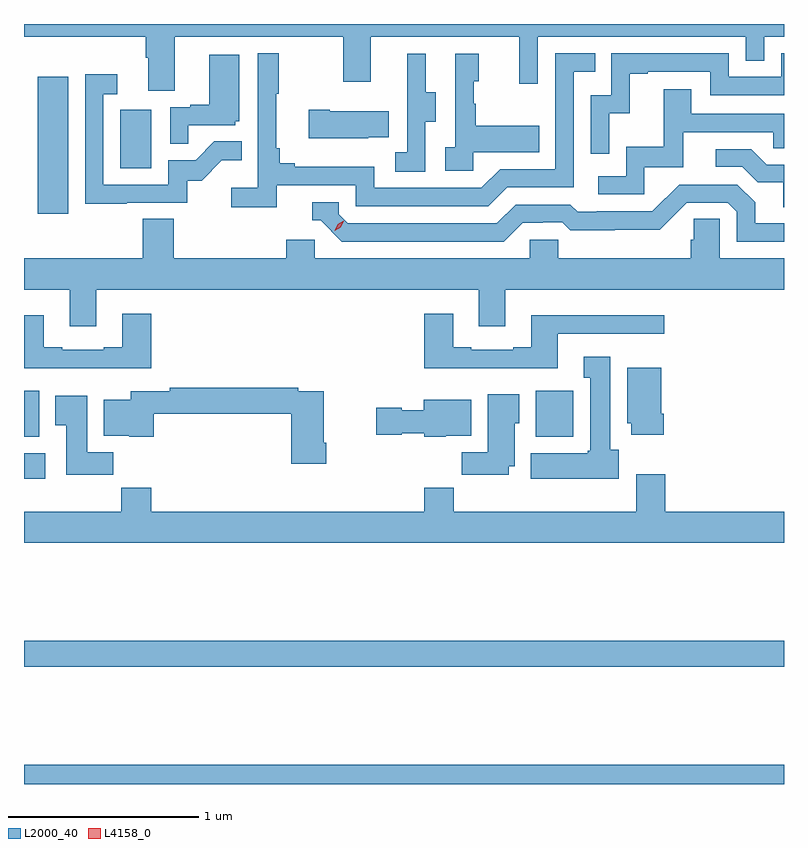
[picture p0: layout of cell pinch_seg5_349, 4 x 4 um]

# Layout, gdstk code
import gdstk
lib = gdstk.Library(unit=1e-6, precision=1e-09)
def R(c, l, rs):  # rectangles x0, y0, x1, y1
    for r in rs: c.add(gdstk.rectangle(r[:2], r[2:], *l))
def P(c, l, *ps):  # polygons
    for p in ps: c.add(gdstk.Polygon(p, *l))
L2000_40 = (2000, 40)
L4158_0 = (4158, 0)

pinch_seg5_349 = lib.new_cell('pinch_seg5_349')
R(pinch_seg5_349, L2000_40, [(969.341,874.138,973.341,874.24), (969.341,874.756,973.341,874.892), (969.341,875.744,969.454,875.878), (969.341,875.966,969.421,876.208), (972.035,875.966,972.232,876.208), (969.413,877.14,969.574,877.861), (969.848,877.38,970.012,877.687)])
P(pinch_seg5_349, L2000_40, [(970.135,878.072),(971.02,878.072),(971.02,877.833),(971.167,877.833),(971.167,878.072),(971.948,878.072),(971.948,877.824),(972.045,877.824),(972.045,878.072),(973.14,878.072),(973.14,877.945),(973.236,877.945),(973.236,878.072),(973.341,878.072),(973.341,878.138),(969.341,878.138),(969.341,878.072),(969.983,878.072),(969.983,877.96),(969.995,877.96),(969.995,877.786),(970.135,877.786)],
  [(970.67,877.29),(971.088,877.29),(971.088,877.179),(971.785,877.179),(971.884,877.278),(972.234,877.278),(972.234,877.887),(972.347,877.887),(972.347,877.983),(972.138,877.983),(972.138,877.374),(971.847,877.374),(971.748,877.275),(971.184,877.275),(971.184,877.387),(970.765,877.387),(970.765,877.406),(970.688,877.406),(970.688,877.483),(970.669,877.483),(970.669,877.771),(970.681,877.771),(970.681,877.984),(970.572,877.984),(970.572,877.276),(970.431,877.276),(970.431,877.174),(970.67,877.174)],
  [(972.42,877.667),(972.53,877.667),(972.53,877.875),(972.625,877.875),(972.625,877.887),(972.954,877.887),(972.954,877.764),(973.341,877.764),(973.341,877.983),(973.326,877.983),(973.326,877.86),(973.05,877.86),(973.05,877.983),(972.432,877.983),(972.432,877.764),(972.324,877.764),(972.324,877.455),(972.42,877.455)],
  [(971.706,877.463),(972.053,877.463),(972.053,877.603),(971.719,877.603),(971.719,877.718),(971.709,877.718),(971.709,877.836),(971.734,877.836),(971.734,877.981),(971.61,877.981),(971.61,877.49),(971.559,877.49),(971.559,877.365),(971.706,877.365)],
  [(971.454,877.624),(971.509,877.624),(971.509,877.779),(971.455,877.779),(971.455,877.981),(971.357,877.981),(971.357,877.767),(971.358,877.767),(971.358,877.463),(971.295,877.463),(971.295,877.36),(971.454,877.36)],
  [(970.205,877.605),(970.452,877.605),(970.452,877.626),(970.474,877.626),(970.474,877.975),(970.316,877.975),(970.316,877.714),(970.217,877.714),(970.217,877.701),(970.11,877.701),(970.11,877.507),(970.205,877.507)],
  [(969.881,877.197),(970.2,877.197),(970.2,877.314),(970.276,877.314),(970.383,877.421),(970.487,877.421),(970.487,877.52),(970.343,877.52),(970.245,877.422),(970.101,877.422),(970.101,877.293),(969.759,877.293),(969.759,877.767),(969.832,877.767),(969.832,877.873),(969.663,877.873),(969.663,877.192),(969.881,877.192)],
  [(972.606,877.383),(972.811,877.383),(972.811,877.569),(973.285,877.569),(973.285,877.485),(973.341,877.485),(973.341,877.665),(972.853,877.665),(972.853,877.795),(972.709,877.795),(972.709,877.492),(972.51,877.492),(972.51,877.338),(972.363,877.338),(972.363,877.242),(972.606,877.242)],
  [(971.153,877.541),(971.261,877.541),(971.261,877.678),(970.951,877.678),(970.951,877.686),(970.839,877.686),(970.839,877.538),(971.153,877.538)],
  [(973.341,877.398),(973.249,877.398),(973.168,877.479),(972.981,877.479),(972.981,877.386),(973.122,877.386),(973.202,877.306),(973.337,877.306),(973.337,877.174),(973.341,877.174)],
  [(971.965,877.092),(972.072,877.092),(972.072,877.095),(972.175,877.095),(972.217,877.053),(972.45,877.053),(972.45,877.055),(972.686,877.055),(972.828,877.197),(973.044,877.197),(973.092,877.149),(973.092,876.993),(973.341,876.993),(973.341,877.089),(973.189,877.089),(973.189,877.199),(973.095,877.293),(972.789,877.293),(972.648,877.152),(972.355,877.152),(972.355,877.149),(972.256,877.149),(972.217,877.188),(971.928,877.188),(971.829,877.089),(971.046,877.089),(970.998,877.137),(970.998,877.2),(970.859,877.2),(970.859,877.104),(970.902,877.104),(971.013,876.993),(971.866,876.993)],
  [(969.721,876.74),(971.735,876.74),(971.735,876.546),(971.875,876.546),(971.875,876.74),(973.341,876.74),(973.341,876.904),(973.002,876.904),(973.002,877.112),(972.865,877.112),(972.865,877.002),(972.851,877.002),(972.851,876.904),(972.153,876.904),(972.153,877.002),(972.003,877.002),(972.003,876.904),(970.872,876.904),(970.872,877.002),(970.721,877.002),(970.721,876.904),(970.13,876.904),(970.13,877.112),(969.965,877.112),(969.965,876.904),(969.341,876.904),(969.341,876.74),(969.581,876.74),(969.581,876.546),(969.721,876.546)],
  [(970.01,876.613),(969.857,876.613),(969.857,876.436),(969.761,876.436),(969.761,876.423),(969.541,876.423),(969.541,876.436),(969.445,876.436),(969.445,876.604),(969.341,876.604),(969.341,876.326),(970.01,876.326)],
  [(972.151,876.507),(972.712,876.507),(972.712,876.604),(972.011,876.604),(972.011,876.436),(971.915,876.436),(971.915,876.423),(971.695,876.423),(971.695,876.436),(971.599,876.436),(971.599,876.613),(971.447,876.613),(971.447,876.326),(972.151,876.326)],
  [(972.472,875.898),(972.427,875.898),(972.427,876.388),(972.287,876.388),(972.287,876.275),(972.32,876.275),(972.32,875.892),(972.307,875.892),(972.307,875.878),(972.008,875.878),(972.008,875.744),(972.472,875.744)],
  [(972.707,876.088),(972.694,876.088),(972.694,876.328),(972.515,876.328),(972.515,876.036),(972.536,876.036),(972.536,875.976),(972.707,875.976)],
  [(970.931,875.935),(970.918,875.935),(970.918,876.204),(970.784,876.204),(970.784,876.224),(970.108,876.224),(970.108,876.204),(969.902,876.204),(969.902,876.16),(969.761,876.16),(969.761,875.972),(969.894,875.972),(969.894,875.966),(970.025,875.966),(970.025,876.088),(970.748,876.088),(970.748,875.823),(970.931,875.823)],
  [(971.893,875.81),(971.923,875.81),(971.923,876.036),(971.947,876.036),(971.947,876.19),(971.783,876.19),(971.783,875.884),(971.644,875.884),(971.644,875.766),(971.893,875.766)],
  [(969.812,875.884),(969.673,875.884),(969.673,876.181),(969.506,876.181),(969.506,876.025),(969.563,876.025),(969.563,875.766),(969.812,875.766)],
  [(971.562,875.972),(971.695,875.972),(971.695,876.16),(971.444,876.16),(971.444,876.106),(971.328,876.106),(971.328,876.119),(971.196,876.119),(971.196,875.977),(971.328,875.977),(971.328,875.984),(971.448,875.984),(971.448,875.966),(971.562,875.966)],
  [(969.853,875.696),(969.853,875.572),(969.341,875.572),(969.341,875.408),(973.341,875.408),(973.341,875.572),(972.716,875.572),(972.716,875.767),(972.563,875.767),(972.563,875.572),(971.603,875.572),(971.603,875.696),(971.447,875.696),(971.447,875.572),(970.01,875.572),(970.01,875.696)])
P(pinch_seg5_349, L4158_0, [(970.976,877.05),(970.976,877.05),(970.992,877.083),(971.023,877.102),(971.023,877.102),(971.023,877.102),(971.007,877.069),(970.976,877.05)])

lib.write_gds('pinch_seg5_349.gds')
